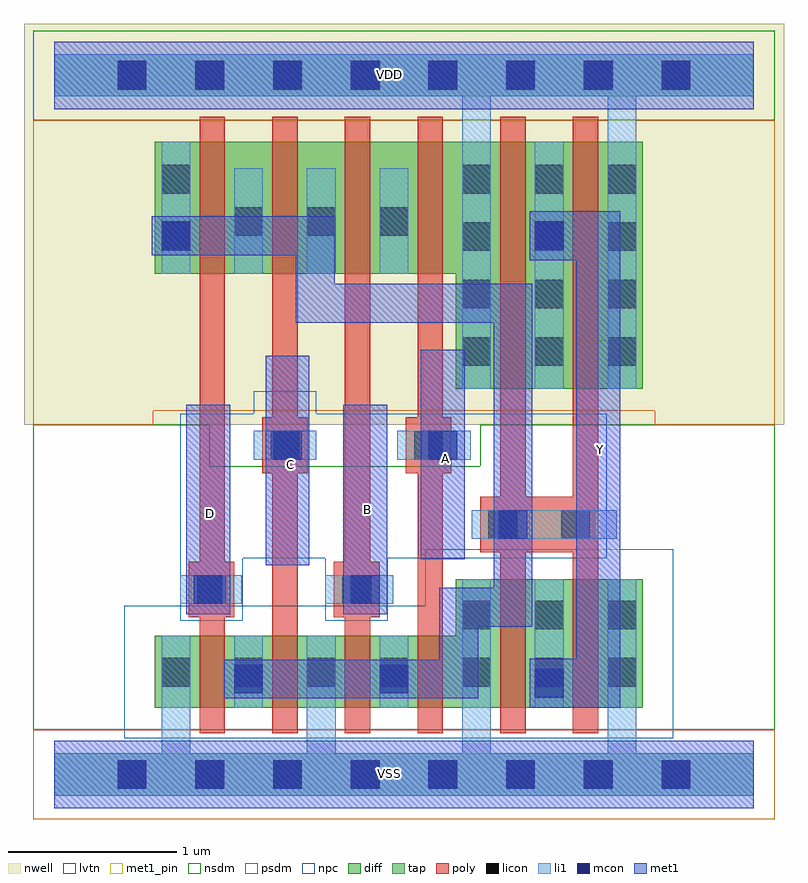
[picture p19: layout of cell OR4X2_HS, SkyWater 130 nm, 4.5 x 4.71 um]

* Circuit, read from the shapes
.subckt OR4X2_HS A B C D VDD VSS Y
XM1 n1 D VSS VSS sky130_fd_pr__nfet_01v8_lvt w=0.425 l=0.15
XM2 VSS C n1 VSS sky130_fd_pr__nfet_01v8_lvt w=0.425 l=0.15
XM3 n1 B VSS VSS sky130_fd_pr__nfet_01v8_lvt w=0.425 l=0.15
XM4 VSS A n1 VSS sky130_fd_pr__nfet_01v8_lvt w=0.425 l=0.15
XM5 Y n1 VSS VSS sky130_fd_pr__nfet_01v8_lvt w=0.76 l=0.15 m=2
XM6 n2 D n1 VDD sky130_fd_pr__pfet_01v8 w=0.78 l=0.15
XM7 n3 C n2 VDD sky130_fd_pr__pfet_01v8 w=0.78 l=0.15
XM8 n4 B n3 VDD sky130_fd_pr__pfet_01v8 w=0.78 l=0.15
XM9 VDD A n4 VDD sky130_fd_pr__pfet_01v8 w=0.78 l=0.15
XM10 Y n1 VDD VDD sky130_fd_pr__pfet_01v8 w=1.46 l=0.15 m=2
.ends

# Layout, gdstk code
from math import pi, radians
import gdstk
lib = gdstk.Library(unit=1e-6, precision=1e-09)
def R(c, l, rs):  # rectangles x0, y0, x1, y1
    for r in rs: c.add(gdstk.rectangle(r[:2], r[2:], *l))
def A(c, l, x, y, w, h, nx, ny, dx, dy):  # array of equal rectangles
    R(c, l, [(x+i*dx, y+j*dy, x+i*dx+w, y+j*dy+h) for i in range(nx) for j in range(ny)])
def P(c, l, *ps):  # polygons
    for p in ps: c.add(gdstk.Polygon(p, *l))
nwell = (64, 20)
diff = (65, 20)
tap = (65, 44)
poly = (66, 20)
licon = (66, 44)
li1 = (67, 20)
mcon = (67, 44)
met1_pin = (68, 16)
met1 = (68, 20)
nsdm = (93, 44)
psdm = (94, 20)
npc = (95, 20)
lvtn = (125, 44)

l1m1_c_cdns_758729172867 = lib.new_cell('L1M1_C_CDNS_758729172867')
R(l1m1_c_cdns_758729172867, li1, [(-0.085,-0.085,0.085,0.165)])
R(l1m1_c_cdns_758729172867, mcon, [(-0.085,-0.085,0.085,0.085)])
R(l1m1_c_cdns_758729172867, met1, [(-0.115,-0.145,0.115,0.145)])

l1m1_c_cdns_758729172860 = lib.new_cell('L1M1_C_CDNS_758729172860')
R(l1m1_c_cdns_758729172860, li1, [(-0.165,-0.085,0.165,0.085)])
R(l1m1_c_cdns_758729172860, mcon, [(-0.085,-0.085,0.085,0.085)])
R(l1m1_c_cdns_758729172860, met1, [(-0.115,-0.145,0.115,0.145)])

l1m1_c_cdns_758729172861 = lib.new_cell('L1M1_C_CDNS_758729172861')
R(l1m1_c_cdns_758729172861, li1, [(-0.085,-0.165,0.085,0.165)])
R(l1m1_c_cdns_758729172861, mcon, [(-0.085,-0.085,0.085,0.085)])
R(l1m1_c_cdns_758729172861, met1, [(-0.115,-0.145,0.115,0.145)])

pyl1con_c_cdns_758729172 = lib.new_cell('PYL1CON_C_CDNS_758729172862')
R(pyl1con_c_cdns_758729172, poly, [(-0.135,-0.165,0.135,0.165)])
R(pyl1con_c_cdns_758729172, licon, [(-0.085,-0.085,0.085,0.085)])
R(pyl1con_c_cdns_758729172, npc, [(-0.185,-0.185,0.185,0.185)])

l1m1_c_cdns_758729172863 = lib.new_cell('L1M1_C_CDNS_758729172863')
R(l1m1_c_cdns_758729172863, li1, [(-0.085,-0.165,0.085,0.165)])
R(l1m1_c_cdns_758729172863, mcon, [(-0.085,-0.085,0.085,0.085)])
R(l1m1_c_cdns_758729172863, met1, [(-0.145,-0.115,0.145,0.115)])

l1m1_c_cdns_758729172862 = lib.new_cell('L1M1_C_CDNS_7587291728625')
R(l1m1_c_cdns_758729172862, li1, [(-0.085,-0.085,0.085,0.165)])
R(l1m1_c_cdns_758729172862, mcon, [(-0.085,-0.085,0.085,0.085)])
R(l1m1_c_cdns_758729172862, met1, [(-0.145,-0.115,0.145,0.115)])

or4x2_hs = lib.new_cell('OR4X2_HS')
R(or4x2_hs, nwell, [(-0.18,2.07,4.32,4.445)])
P(or4x2_hs, diff, [(3.485,3.745),(0.595,3.745),(0.595,2.965),(2.375,2.965),(2.375,2.285),(3.485,2.285)],
  [(3.485,1.155),(2.375,1.155),(2.375,0.82),(0.595,0.82),(0.595,0.395),(3.485,0.395)])
A(or4x2_hs, poly, 0.86, 0.245, 0.15, 3.65, 4, 1, 0.43, 0)
R(or4x2_hs, poly, [(3.07,0.245,3.22,3.895)])
P(or4x2_hs, poly, [(3.06,1.645),(2.79,1.645),(2.79,3.895),(2.64,3.895),(2.64,0.245),(2.79,0.245),(2.79,1.315),(3.06,1.315)])
A(or4x2_hs, licon, 0.375, -0.085, 0.17, 0.17, 8, 2, 0.46, 4.14)
A(or4x2_hs, licon, 0.635, 0.52, 0.17, 0.17, 4, 1, 0.43, 0)
A(or4x2_hs, licon, 2.415, 0.52, 0.17, 0.17, 3, 2, 0.43, 0.34)
A(or4x2_hs, licon, 2.415, 2.42, 0.17, 0.17, 3, 4, 0.43, 0.34)
A(or4x2_hs, licon, 1.065, 3.19, 0.17, 0.17, 3, 1, 0.43, 0)
R(or4x2_hs, licon, [(0.635,3.1,0.805,3.27), (0.635,3.44,0.805,3.61)])
A(or4x2_hs, li1, 1.065, 2.965, 0.17, 0.625, 3, 1, 0.43, 0)
R(or4x2_hs, li1, [(1.065,0.395,1.235,0.82), (1.925,0.395,2.095,0.82), (2.845,0.395,3.015,1.155), (2.845,2.285,3.015,3.745), (0.635,2.965,0.805,3.745)])
P(or4x2_hs, li1, [(4.14,4.265),(0,4.265),(0,4.015),(2.415,4.015),(2.415,2.285),(2.585,2.285),(2.585,4.015),(3.275,4.015),(3.275,2.285),(3.445,2.285),(3.445,4.015),(4.14,4.015)],
  [(4.14,0.125),(3.445,0.125),(3.445,1.155),(3.275,1.155),(3.275,0.125),(2.585,0.125),(2.585,1.155),(2.415,1.155),(2.415,0.125),(1.665,0.125),(1.665,0.82),(1.495,0.82),(1.495,0.125),(0.805,0.125),(0.805,0.82),(0.635,0.82),(0.635,0.125),(0,0.125),(0,-0.125),(4.14,-0.125)])
A(or4x2_hs, mcon, 0.375, -0.085, 0.17, 0.17, 8, 2, 0.46, 4.14)
R(or4x2_hs, met1_pin, [(0.78,0.95,1.04,2.19), (1.71,0.95,1.97,2.19), (1.25,1.24,1.51,2.48), (2.17,1.275,2.43,2.515), (3.09,1.33,3.35,2.57)])
P(or4x2_hs, met1, [(3.35,3.335),(2.96,3.335),(2.96,3.045),(3.09,3.045),(3.09,0.685),(2.93,0.685),(2.93,0.395),(3.35,0.395)])
R(or4x2_hs, nsdm, [(-0.125,3.875,4.265,4.405)])
P(or4x2_hs, nsdm, [(4.265,2.07),(2.52,2.07),(2.52,1.825),(0.92,1.825),(0.92,2.07),(-0.125,2.07),(-0.125,0.265),(4.265,0.265)])
R(or4x2_hs, psdm, [(-0.125,-0.265,4.265,0.265)])
P(or4x2_hs, psdm, [(4.265,3.875),(-0.125,3.875),(-0.125,2.07),(0.585,2.07),(0.585,2.155),(3.555,2.155),(3.555,2.07),(4.265,2.07)])
P(or4x2_hs, npc, [(3.27,2.135),(1.55,2.135),(1.55,2.27),(1.18,2.27),(1.18,2.135),(0.745,2.135),(0.745,1.28),(3.27,1.28)])
P(or4x2_hs, lvtn, [(3.665,1.335),(2.195,1.335),(2.195,1),(0.415,1),(0.415,0.215),(3.665,0.215)])
or4x2_hs.add(gdstk.FlexPath([(2.47,1.48),(3.33,1.48)], 0.17, ends="flush", simple_path=True, layer=67, datatype=20))  # li1
or4x2_hs.add(gdstk.FlexPath([(1.18,1.95),(1.55,1.95)], 0.17, ends="flush", simple_path=True, layer=67, datatype=20))  # li1
or4x2_hs.add(gdstk.FlexPath([(0.745,1.095),(1.11,1.095)], 0.17, ends="flush", simple_path=True, layer=67, datatype=20))  # li1
or4x2_hs.add(gdstk.FlexPath([(1.605,1.095),(1.97,1.095)], 0.17, ends="flush", simple_path=True, layer=67, datatype=20))  # li1
or4x2_hs.add(gdstk.FlexPath([(2.03,1.95),(2.4,1.95)], 0.17, ends="flush", simple_path=True, layer=67, datatype=20))  # li1
or4x2_hs.add(gdstk.FlexPath([(0,4.14),(4.14,4.14)], 0.25, ends="flush", simple_path=True, layer=65, datatype=44))  # tap
or4x2_hs.add(gdstk.FlexPath([(0,0),(4.14,0)], 0.25, ends="flush", simple_path=True, layer=65, datatype=44))  # tap
or4x2_hs.add(gdstk.FlexPath([(0,4.14),(4.14,4.14)], 0.4, ends="flush", simple_path=True, layer=68, datatype=20))  # met1
or4x2_hs.add(gdstk.FlexPath([(0,0),(4.14,0)], 0.4, ends="flush", simple_path=True, layer=68, datatype=20))  # met1
or4x2_hs.add(gdstk.FlexPath([(1.005,0.565),(2.395,0.565),(2.395,0.99),(2.715,0.99),(2.715,2.79),(1.545,2.79),(1.545,3.19),(0.735,3.19)], 0.23, ends="flush", simple_path=True, layer=68, datatype=20))  # met1
or4x2_hs.add(gdstk.FlexPath([(2.3,1.275),(2.3,2.515)], 0.26, ends="flush", simple_path=True, layer=68, datatype=20))  # met1
or4x2_hs.add(gdstk.FlexPath([(0.91,0.95),(0.91,2.19)], 0.26, ends="flush", simple_path=True, layer=68, datatype=20))  # met1
or4x2_hs.add(gdstk.FlexPath([(1.38,1.24),(1.38,2.48)], 0.26, ends="flush", simple_path=True, layer=68, datatype=20))  # met1
or4x2_hs.add(gdstk.FlexPath([(1.84,0.95),(1.84,2.19)], 0.26, ends="flush", simple_path=True, layer=68, datatype=20))  # met1
or4x2_hs.add(gdstk.FlexPath([(0,4.14),(4.14,4.14)], 0.4, ends="flush", simple_path=True, layer=68, datatype=16))  # met1_pin
or4x2_hs.add(gdstk.FlexPath([(0,0),(4.14,0)], 0.4, ends="flush", simple_path=True, layer=68, datatype=16))  # met1_pin
or4x2_hs.add(gdstk.Reference(l1m1_c_cdns_758729172867, (2.93,0.54)))
or4x2_hs.add(gdstk.Reference(l1m1_c_cdns_758729172860, (2.3,1.95), x_reflection=True))
or4x2_hs.add(gdstk.Reference(l1m1_c_cdns_758729172860, (2.715,1.48)))
or4x2_hs.add(gdstk.Reference(l1m1_c_cdns_758729172860, (0.91,1.095), x_reflection=True))
or4x2_hs.add(gdstk.Reference(l1m1_c_cdns_758729172860, (1.38,1.95), x_reflection=True))
or4x2_hs.add(gdstk.Reference(l1m1_c_cdns_758729172860, (1.84,1.095), x_reflection=True))
or4x2_hs.add(gdstk.Reference(l1m1_c_cdns_758729172861, (2.93,3.19)))
or4x2_hs.add(gdstk.Reference(pyl1con_c_cdns_758729172, (3.085,1.48)))
or4x2_hs.add(gdstk.Reference(pyl1con_c_cdns_758729172, (2.215,1.95), rotation=pi, x_reflection=True))
or4x2_hs.add(gdstk.Reference(pyl1con_c_cdns_758729172, (2.655,1.48)))
or4x2_hs.add(gdstk.Reference(pyl1con_c_cdns_758729172, (0.93,1.095)))
or4x2_hs.add(gdstk.Reference(pyl1con_c_cdns_758729172, (1.365,1.95)))
or4x2_hs.add(gdstk.Reference(pyl1con_c_cdns_758729172, (1.79,1.095)))
or4x2_hs.add(gdstk.Reference(l1m1_c_cdns_758729172863, (0.72,3.19)))
or4x2_hs.add(gdstk.Reference(l1m1_c_cdns_758729172862, (1.15,0.565)))
or4x2_hs.add(gdstk.Reference(l1m1_c_cdns_758729172862, (2.01,0.565)))
or4x2_hs.add(gdstk.Label('VDD', (1.985,4.145), layer=68, texttype=5))
or4x2_hs.add(gdstk.Label('A', (2.315,1.87), layer=68, texttype=5))
or4x2_hs.add(gdstk.Label('VSS', (1.985,0.005), layer=68, texttype=5))
or4x2_hs.add(gdstk.Label('D', (0.925,1.545), layer=68, texttype=5))
or4x2_hs.add(gdstk.Label('C', (1.395,1.835), layer=68, texttype=5))
or4x2_hs.add(gdstk.Label('B', (1.855,1.57), layer=68, texttype=5))
or4x2_hs.add(gdstk.Label('Y', (3.235,1.925), layer=68, texttype=5))

lib.write_gds('OR4X2_HS.gds')
